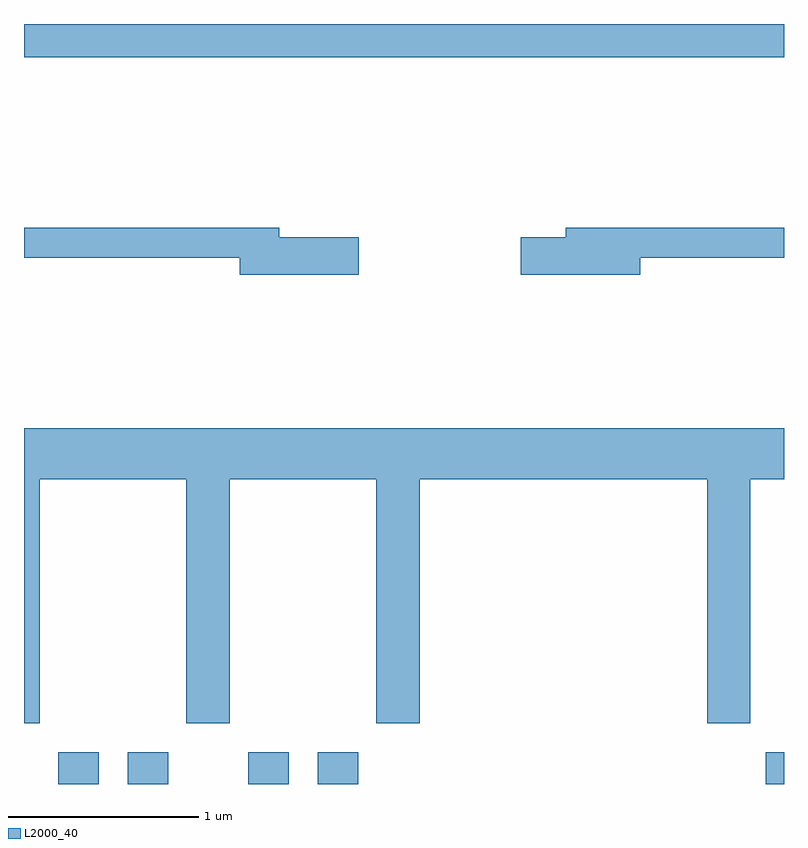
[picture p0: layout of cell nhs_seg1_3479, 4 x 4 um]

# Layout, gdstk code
import gdstk
lib = gdstk.Library(unit=1e-6, precision=1e-09)
def R(c, l, rs):  # rectangles x0, y0, x1, y1
    for r in rs: c.add(gdstk.rectangle(r[:2], r[2:], *l))
def P(c, l, *ps):  # polygons
    for p in ps: c.add(gdstk.Polygon(p, *l))
L2000_40 = (2000, 40)

nhs_seg1_3479 = lib.new_cell('nhs_seg1_3479')
R(nhs_seg1_3479, L2000_40, [(289.791,935.712,290.004,935.879), (290.156,935.712,290.369,935.879), (290.791,935.712,291.004,935.879), (291.156,935.712,291.369,935.879), (293.516,935.712,293.611,935.879), (289.611,939.536,293.611,939.712)])
P(nhs_seg1_3479, L2000_40, [(292.854,938.481),(293.611,938.481),(293.611,938.639),(292.461,938.639),(292.461,938.589),(292.226,938.589),(292.226,938.391),(292.854,938.391)],
  [(291.374,938.589),(290.954,938.589),(290.954,938.639),(289.611,938.639),(289.611,938.481),(290.746,938.481),(290.746,938.391),(291.374,938.391)],
  [(289.694,937.316),(290.466,937.316),(290.466,936.031),(290.694,936.031),(290.694,937.316),(291.466,937.316),(291.466,936.031),(291.694,936.031),(291.694,937.316),(293.206,937.316),(293.206,936.031),(293.434,936.031),(293.434,937.316),(293.611,937.316),(293.611,937.584),(289.611,937.584),(289.611,936.031),(289.694,936.031)])

lib.write_gds('nhs_seg1_3479.gds')
